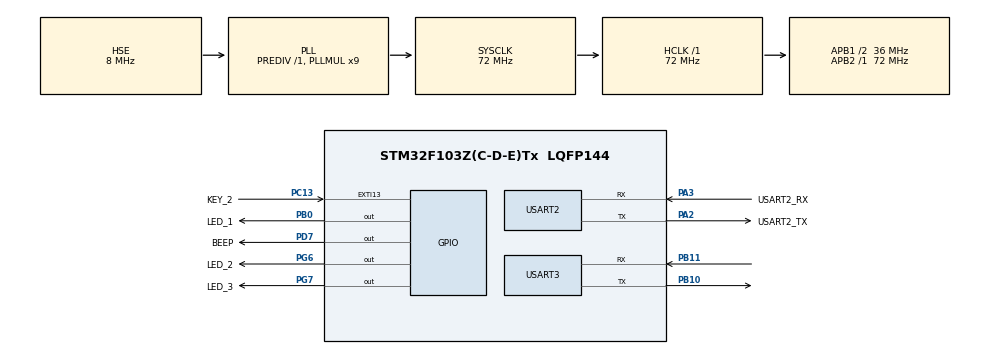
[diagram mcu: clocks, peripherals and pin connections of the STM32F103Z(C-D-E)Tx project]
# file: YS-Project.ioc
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Dma.Request0=USART3_RX
Dma.USART3_RX.0.Direction=DMA_PERIPH_TO_MEMORY
Dma.USART3_RX.0.Instance=DMA1_Channel3
Dma.USART3_RX.0.MemDataAlignment=DMA_MDATAALIGN_BYTE
Dma.USART3_RX.0.MemInc=DMA_MINC_ENABLE
Dma.USART3_RX.0.Mode=DMA_NORMAL
Dma.USART3_RX.0.PeriphDataAlignment=DMA_PDATAALIGN_BYTE
Dma.USART3_RX.0.PeriphInc=DMA_PINC_DISABLE
Dma.USART3_RX.0.Priority=DMA_PRIORITY_LOW
IWDG.Prescaler=IWDG_PRESCALER_32
IWDG.Reload=2250
Mcu.Family=STM32F1
Mcu.Name=STM32F103Z(C-D-E)Tx
Mcu.Package=LQFP144
NVIC.DMA1_Channel3_IRQn=true\:0\:0\:false\:false\:true\:false\:true\:true
NVIC.EXTI15_10_IRQn=true\:0\:0\:false\:false\:true\:true\:true\:true
NVIC.PriorityGroup=NVIC_PRIORITYGROUP_4
NVIC.USART3_IRQn=true\:0\:0\:false\:false\:true\:true\:true\:true
OSC_IN.Mode=HSE-External-Oscillator
OSC_IN.Signal=RCC_OSC_IN
OSC_OUT.Mode=HSE-External-Oscillator
OSC_OUT.Signal=RCC_OSC_OUT
PA0-WKUP.Mode=SYS_WakeUp0
PA0-WKUP.Signal=SYS_WKUP
PA13.Mode=Serial_Wire
PA13.Signal=SYS_JTMS-SWDIO
PA14.Mode=Serial_Wire
PA14.Signal=SYS_JTCK-SWCLK
PA2.GPIO_Label=USART2_TX
PA2.Mode=Asynchronous
PA2.Signal=USART2_TX
PA3.GPIO_Label=USART2_RX
PA3.Mode=Asynchronous
PA3.Signal=USART2_RX
PB0.GPIO_Label=LED_1
PB0.GPIO_PuPd=GPIO_PULLDOWN
PB0.Signal=GPIO_Output
PB10.Mode=Asynchronous
PB10.Signal=USART3_TX
PB11.Mode=Asynchronous
PB11.Signal=USART3_RX
PC13-TAMPER-RTC.GPIO_Label=KEY_2
PC13-TAMPER-RTC.GPIO_PuPd=GPIO_PULLUP
PC13-TAMPER-RTC.Signal=GPXTI13
PC14-OSC32_IN.Mode=LSE-External-Oscillator
PC14-OSC32_IN.Signal=RCC_OSC32_IN
PC15-OSC32_OUT.Mode=LSE-External-Oscillator
PC15-OSC32_OUT.Signal=RCC_OSC32_OUT
PD7.GPIO_Label=BEEP
PD7.GPIO_PuPd=GPIO_PULLUP
PD7.PinState=GPIO_PIN_SET
PD7.Signal=GPIO_Output
PG6.GPIO_Label=LED_2
PG6.GPIO_PuPd=GPIO_PULLDOWN
PG6.Signal=GPIO_Output
PG7.GPIO_Label=LED_3
PG7.GPIO_PuPd=GPIO_PULLDOWN
PG7.Signal=GPIO_Output
ProjectManager.HeapSize=0x200
ProjectManager.StackSize=0x400
ProjectManager.TargetToolchain=MDK-ARM V5.32
RCC.AHBFreq_Value=72000000
RCC.APB1CLKDivider=RCC_HCLK_DIV2
RCC.APB1Freq_Value=36000000
RCC.APB1TimFreq_Value=72000000
RCC.APB2Freq_Value=72000000
RCC.APB2TimFreq_Value=72000000
RCC.HCLKFreq_Value=72000000
RCC.PLLMUL=RCC_PLL_MUL9
RCC.PLLSourceVirtual=RCC_PLLSOURCE_HSE
RCC.SYSCLKFreq_VALUE=72000000
RCC.SYSCLKSource=RCC_SYSCLKSOURCE_PLLCLK
RCC.USBFreq_Value=72000000
USART2.VirtualMode=VM_ASYNC
USART3.VirtualMode=VM_ASYNC
VP_IWDG_VS_IWDG.Mode=IWDG_Activate
board=custom

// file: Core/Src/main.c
/* USER CODE BEGIN Header */
/**
 ******************************************************************************
 * @file           : main.c
 * @brief          : Main program body
 ******************************************************************************
 * @attention
 *
 * Copyright (c) 2025 STMicroelectronics.
 * All rights reserved.
 *
 * This software is licensed under terms that can be found in the LICENSE file
 * in the root directory of this software component.
 * If no LICENSE file comes with this software, it is provided AS-IS.
 *
 ******************************************************************************
 */
/* USER CODE END Header */
#include "main.h"
#include "dma.h"
#include "gpio.h"
#include "iwdg.h"
#include "usart.h"

void SystemClock_Config(void);

/* USER CODE BEGIN 0 */
#define ADDR_CodeWriteFlag 0X08070000 // 设置跳转标志位保存地址
#define ADDR_JumpToIAPFlag 0X08070001
#define FLASH_APP1_ADDR 0x08004000  // Bootloader 后第一个可用地址
/* USER CODE END 0 */

int main(void) {

  /* MCU Configuration--------------------------------------------------------*/

  /* Reset of all peripherals, Initializes the Flash interface and the Systick.
   */
  HAL_Init();

  /* Configure the system clock */
  SystemClock_Config();

  /* Initialize all configured peripherals */
  MX_GPIO_Init();
  MX_DMA_Init();
  MX_IWDG_Init();
  MX_USART2_UART_Init();
  MX_USART3_UART_Init();
  /* USER CODE BEGIN 2 */
  HAL_GPIO_WritePin(LED_1_GPIO_Port, LED_1_Pin, GPIO_PIN_SET);
  HAL_GPIO_WritePin(LED_2_GPIO_Port, LED_2_Pin, GPIO_PIN_SET);
  HAL_GPIO_WritePin(LED_3_GPIO_Port, LED_3_Pin, GPIO_PIN_SET);
  // HAL_GPIO_WritePin(BEEP_GPIO_Port,BEEP_Pin,GPIO_PIN_RESET);
  /* USER CODE END 2 */

  /* Infinite loop */
  /* USER CODE BEGIN WHILE */
  HAL_FLASH_Unlock(); ///*flash解锁，因为需要操作flash*/
  uint16_t IAPFlagBuf[2];
  uint16_t RxDataCount = 0;   // 串口接收到的数据计数
  uint16_t RxDataLength = 0;  // 串口接收到的数据长度
  uint16_t AppCodeLength = 0; // 接收到的app代码长度
  uint8_t RxCmdFlag = 0;
  uint8_t AppRunFlag = 0; // 应用程序运行标志
  uint16_t JumpToAPPFlag; // 跳转至APP程序标志位
  uint16_t JumpToIAPFlag; // 跳转回IAP标志位
  JumpToAPPFlag = STMFLASH_ReadHalfWord(ADDR_CodeWriteFlag); // 读取APP写入标志位，判断是否已有程序
  JumpToIAPFlag = STMFLASH_ReadHalfWord(ADDR_JumpToIAPFlag);
  IAPFlagBuf[0] = 0x11;
  IAPFlagBuf[1] = 0x00;

  printf("提示：输入send发送bin文件!\r\n");
  while (1)
  {
    if (JumpToAPPFlag !=0x11) // 判断是否已有APP程序，如果已有，跳转至APP程序运行
    {
      if (JumpToIAPFlag ==0x11) // 判断是否从APP程序跳转回来,如果是擦除已有APP程序
        JumpToIAPFlag = 0x00;
      if (USART_RX_CNT) // 如果有数据进来
      {
        if (RxDataCount == USART_RX_CNT) // 串口没有再收到新数据
        {
          RxDataLength = USART_RX_CNT;
          if (RxCmdFlag == 0 && RxDataLength == 4) // 接收到IAP指令
          {
            if (USART_RX_BUF[0] == 's' && USART_RX_BUF[1] == 'e' &&USART_RX_BUF[2] == 'n' &&USART_RX_BUF[3] == 'd') // 判断是否为IAP指令
            {
              RxCmdFlag = 1; // 接收到更新APP代码指令，标志位置1
              RxDataLength = 0; // 清空指令长度，防止影响后面计算APP代码大小
              printf("准备接收app程序，请添加bin文件!\r\n"); // 准备好接收bin文件，等待用户添加
            }
			else
			{
              CodeUpdateFlag = 0;
              AppCodeLength = 0;
              printf("指令错误!\r\n"); // 未接收到IAP更新指令，其他任何串口发送数据都认为指令错误
            }
          }

          else if (RxCmdFlag == 1 && RxDataLength > 10) // 接收APP程序
          {
            CodeUpdateFlag =1; // 代码更新标志位置位，用于应用程序代码接收完成后写FLASH
            RxCmdFlag = 0;
            AppCodeLength = USART_RX_CNT;
            printf("APP程序接收完成!\r\n");
            printf("程序大小:%dBytes\r\n", AppCodeLength);
          }
          else
		  {
            RxDataLength = 0;
            printf("文件或指令错误!\r\n"); // 如果代码大小不足10Bytes，认为没有正确添加bin文件
          }
          RxDataCount = 0;
          USART_RX_CNT = 0;
        }
		else
		{
          RxDataCount = USART_RX_CNT;
        }
      }

      HAL_Delay(10); // 给以串口中断的时间，判断是否接收完成

      if (CodeUpdateFlag) // 代码更新标志位置位
      {
        CodeUpdateFlag = 0;
        if (AppCodeLength)
		{
          printf("程序更新中...\r\n");
          if (((*(uint32_t *)(0X20001000 + 4)) & 0xFF000000) ==0x08000000) // 判断代码合法性
          {
            printf("正在下载程序!\r\n");
            //iap_write_appbin(FLASH_APP1_ADDR, USART_RX_BUF,AppCodeLength); // 新代码写入FLASH
            AppRunFlag = 1;
          }
		  else
		  {
            printf("程序更新失败，请检查bin文件是否正确!\r\n");
            printf("跳转到原有应用程序!\r\n");
            iap_load_app(FLASH_APP1_ADDR); // 执行FLASH APP代码
          }
        }
		else
		{
          printf("没有程序可以更新!\r\n");
        }
      }

      if (AppRunFlag) // App运行标志置位
      {
        printf("开始运行程序!\r\n");
        HAL_Delay(10);
        if (((*(uint32_t *)(FLASH_APP1_ADDR + 4)) & 0xFF000000) ==0x08000000) // 判断代码合法性
        {
          AppRunFlag = 0;
          STMFLASH_Write(ADDR_CodeWriteFlag, IAPFlagBuf, 2); // 写入APP代码标志
          // RCC_DeInit(); //关闭外设
          //__disable_irq();
          iap_load_app(FLASH_APP1_ADDR); // 执行FLASH APP代码
        } else {
          printf("应用程序错误!\r\n");
        }
      }
    }
	else
	{
      printf("已有一个应用程序!\r\n");
      printf("开始运行程序!\r\n");
      HAL_Delay(10);
      iap_load_app(FLASH_APP1_ADDR); // 执行FLASH APP代码
    }
	HAL_IWDG_Refresh(&hiwdg);
  }
  /* USER CODE END WHILE */

}

void SystemClock_Config(void) {
  RCC_OscInitTypeDef RCC_OscInitStruct = {0};
  RCC_ClkInitTypeDef RCC_ClkInitStruct = {0};

  /** Initializes the RCC Oscillators according to the specified parameters
   * in the RCC_OscInitTypeDef structure.
   */
  RCC_OscInitStruct.OscillatorType =
      RCC_OSCILLATORTYPE_LSI | RCC_OSCILLATORTYPE_HSE;
  RCC_OscInitStruct.HSEState = RCC_HSE_ON;
  RCC_OscInitStruct.HSEPredivValue = RCC_HSE_PREDIV_DIV1;
  RCC_OscInitStruct.HSIState = RCC_HSI_ON;
  RCC_OscInitStruct.LSIState = RCC_LSI_ON;
  RCC_OscInitStruct.PLL.PLLState = RCC_PLL_ON;
  RCC_OscInitStruct.PLL.PLLSource = RCC_PLLSOURCE_HSE;
  RCC_OscInitStruct.PLL.PLLMUL = RCC_PLL_MUL9;
  if (HAL_RCC_OscConfig(&RCC_OscInitStruct) != HAL_OK)
    Error_Handler();

  /** Initializes the CPU, AHB and APB buses clocks
   */
  RCC_ClkInitStruct.ClockType = RCC_CLOCKTYPE_HCLK | RCC_CLOCKTYPE_SYSCLK |
                                RCC_CLOCKTYPE_PCLK1 | RCC_CLOCKTYPE_PCLK2;
  RCC_ClkInitStruct.SYSCLKSource = RCC_SYSCLKSOURCE_PLLCLK;
  RCC_ClkInitStruct.AHBCLKDivider = RCC_SYSCLK_DIV1;
  RCC_ClkInitStruct.APB1CLKDivider = RCC_HCLK_DIV2;
  RCC_ClkInitStruct.APB2CLKDivider = RCC_HCLK_DIV1;

  if (HAL_RCC_ClockConfig(&RCC_ClkInitStruct, FLASH_LATENCY_2) != HAL_OK)
    Error_Handler();
}

/* USER CODE BEGIN 4 */
void HAL_UART_RxCpltCallback(UART_HandleTypeDef *huart)
{
  if (huart->Instance == USART3) // 判断是哪个串口接收中断
  {

  }
}
/* USER CODE END 4 */

void Error_Handler(void) {
  __disable_irq();
  while (1) {
  }
}

#ifdef USE_FULL_ASSERT
/**
 * @brief  Reports the name of the source file and the source line number
 *         where the assert_param error has occurred.
 * @param  file: pointer to the source file name
 * @param  line: assert_param error line source number
 * @retval None
 */
void assert_failed(uint8_t *file, uint32_t line) {
  /* USER CODE BEGIN 6 */
  /* User can add his own implementation to report the file name and line
     number, ex: printf("Wrong parameters value: file %s on line %d\r\n", file,
     line) */
  /* USER CODE END 6 */
}
#endif /* USE_FULL_ASSERT */
